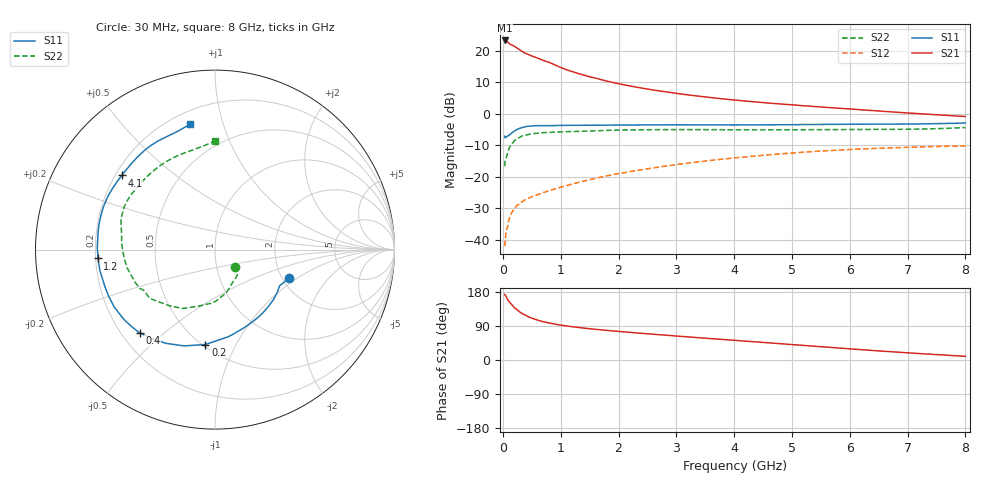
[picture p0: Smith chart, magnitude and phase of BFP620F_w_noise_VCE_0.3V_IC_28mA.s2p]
! Infineon Technologies  Discrete & RF Semiconductors
! BFP620F
! VCE =  0.3 V,  IC =  28 mA
! Common Emitter S-Parameters:  Dec 2014
# GHz  S  MA  R  50
!  f  S11  S21  S12  S22
! GHz  MAG  ANG  MAG  ANG  MAG  ANG  MAG  ANG
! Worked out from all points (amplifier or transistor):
!   95 points, 30 MHz to 8 GHz, reference 50 ohm
!   highest |S21| = 23.2 dB at 30 MHz (marker M1)
!   |S21| within 3 dB of that: start of sweep to 293.9 MHz
!   unconditionally stable (mu >= 1): start of sweep to 164.8 MHz; 1.08 GHz to end of sweep
!   at 300 MHz: K = 0.79, MSG = 24.3 dB, |S12| = -28.4 dB
!   at 3.3 GHz: K = 1.11, MAG = 8.6 dB, |S12| = -15.5 dB
!   at 8 GHz: K = 1.13, MAG = 2.5 dB, |S12| = -10.2 dB
!   lowest NFmin = 1.08 dB at 450 MHz
!   S11 on the Smith chart (normalised r, x): 30 MHz: 2.16, -0.86; 200 MHz: 0.52, -0.76; 400 MHz: 0.27, -0.42; 1.2 GHz: 0.21, -0.04; 4.1 GHz: 0.23, +0.33; 8 GHz: 0.28, +0.78
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0.03  0.4411 -21.4  14.54 173.0  0.0079 52.0  0.1462 -41.1
0.04  0.4127 -29.0  13.46 171.3  0.0095 52.5  0.1821 -45.1
0.05  0.421 -34.5  13.78 169.4  0.0123 55.1  0.1943 -52.4
0.06  0.4287 -40.7  14.01 166.3  0.0134 58.8  0.2032 -59.2
0.08  0.4402 -51.5  13.79 160.1  0.0158 58.8  0.2347 -71.5
0.1  0.4514 -61.4  13.29 155.5  0.02 57.3  0.2669 -83.1
0.13  0.4727 -74.2  12.59 149.9  0.0243 56.6  0.3075 -98.5
0.2  0.5315 -95.8  11.76 138.1  0.0313 51.5  0.3734 -118.5
0.3  0.5897 -117.7  10.2 125.9  0.0382 47.5  0.4267 -137.0
0.35  0.608 -125.4  9.498 121.1  0.0412 47.5  0.4541 -143.2
0.4  0.6261 -132.2  9.039 117.5  0.0439 46.6  0.4574 -150.4
0.5  0.6394 -142.5  8.244 110.5  0.0481 46.4  0.4813 -157.8
0.7  0.6468 -156.5  6.988 101.0  0.0561 48.2  0.5006 -168.6
0.9  0.6481 -165.8  5.935 94.7  0.0641 49.5  0.5095 -176.1
1.2  0.6544 -175.7  4.656 87.9  0.0767 51.2  0.5216 175.5
1.4  0.6561 179.4  4.099 84.2  0.0852 52.0  0.527 171.1
2  0.661 168.0  2.994 75.5  0.1121 51.7  0.5505 161.8
2.7  0.6655 158.3  2.304 66.8  0.1423 48.9  0.5582 155.1
4.1  0.6638 141.5  1.619 50.8  0.2023 40.1  0.5553 141.6
5.4  0.6751 128.1  1.299 36.2  0.2518 29.5  0.5576 125.8
6.7  0.6839 114.7  1.072 22.0  0.2865 18.2  0.5641 109.0
8  0.7126 101.4  0.902 9.7  0.3082 7.7  0.6034 90.2
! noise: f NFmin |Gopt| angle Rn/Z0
0.45  1.08  0.03  -173  0.19
0.9  1.11  0.04  -171  0.15
1.5  1.12  0.08  -149  0.15
1.8  1.14  0.08  -147  0.17
1.9  1.14  0.08  -146  0.15
2.4  1.16  0.09  -146  0.17
3.5  1.23  0.12  -142  0.17
5.5  1.38  0.2  239  0.13
6  1.42  0.2  259  0.15
